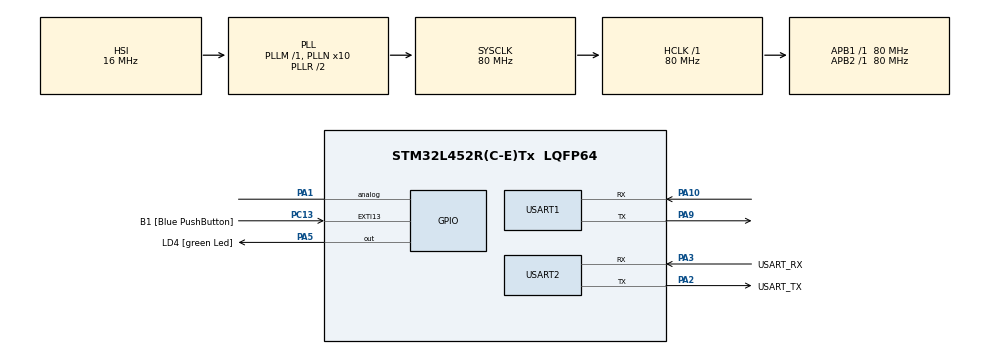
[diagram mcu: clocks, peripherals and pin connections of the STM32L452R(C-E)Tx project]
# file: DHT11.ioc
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Mcu.Family=STM32L4
Mcu.Name=STM32L452R(C-E)Tx
Mcu.Package=LQFP64
NVIC.PriorityGroup=NVIC_PRIORITYGROUP_4
PA1.Signal=GPIO_Analog
PA10.Mode=Asynchronous
PA10.Signal=USART1_RX
PA13\ (JTMS/SWDIO).GPIO_Label=TMS
PA13\ (JTMS/SWDIO).Mode=Serial_Wire
PA13\ (JTMS/SWDIO).Signal=SYS_JTMS-SWDIO
PA14\ (JTCK/SWCLK).GPIO_Label=TCK
PA14\ (JTCK/SWCLK).Mode=Serial_Wire
PA14\ (JTCK/SWCLK).Signal=SYS_JTCK-SWCLK
PA2.GPIO_Label=USART_TX
PA2.GPIO_Mode=GPIO_MODE_AF_PP
PA2.GPIO_PuPd=GPIO_NOPULL
PA2.GPIO_Speed=GPIO_SPEED_FREQ_VERY_HIGH
PA2.Mode=Asynchronous
PA2.Signal=USART2_TX
PA3.GPIO_Label=USART_RX
PA3.GPIO_Mode=GPIO_MODE_AF_PP
PA3.GPIO_PuPd=GPIO_NOPULL
PA3.GPIO_Speed=GPIO_SPEED_FREQ_VERY_HIGH
PA3.Mode=Asynchronous
PA3.Signal=USART2_RX
PA5.GPIO_Label=LD4 [green Led]
PA5.GPIO_ModeDefaultOutputPP=GPIO_MODE_OUTPUT_PP
PA5.GPIO_PuPd=GPIO_NOPULL
PA5.GPIO_Speed=GPIO_SPEED_FREQ_LOW
PA5.Signal=GPIO_Output
PA9.Mode=Asynchronous
PA9.Signal=USART1_TX
PB3\ (JTDO/TRACESWO).GPIO_Label=SWO
PB3\ (JTDO/TRACESWO).Signal=SYS_JTDO-SWO
PC13.GPIO_Label=B1 [Blue PushButton]
PC13.GPIO_ModeDefaultEXTI=GPIO_MODE_IT_FALLING
PC13.GPIO_PuPd=GPIO_NOPULL
PC13.Signal=GPXTI13
PC14-OSC32_IN\ (PC14).Mode=LSE-External-Oscillator
PC14-OSC32_IN\ (PC14).Signal=RCC_OSC32_IN
PC15-OSC32_OUT\ (PC15).Mode=LSE-External-Oscillator
PC15-OSC32_OUT\ (PC15).Signal=RCC_OSC32_OUT
PH0-OSC_IN\ (PH0).Signal=RCC_OSC_IN
PH1-OSC_OUT\ (PH1).Signal=RCC_OSC_OUT
ProjectManager.HeapSize=0x200
ProjectManager.StackSize=0x400
ProjectManager.TargetToolchain=STM32CubeIDE
RCC.ADCFreq_Value=64000000
RCC.AHBFreq_Value=80000000
RCC.APB1Freq_Value=80000000
RCC.APB1TimFreq_Value=80000000
RCC.APB2Freq_Value=80000000
RCC.APB2TimFreq_Value=80000000
RCC.CortexFreq_Value=80000000
RCC.HCLKFreq_Value=80000000
RCC.HSE_VALUE=8000000
RCC.HSI48_VALUE=48000000
RCC.HSI_VALUE=16000000
RCC.MSI_VALUE=4000000
RCC.PLLN=10
RCC.PLLSourceVirtual=RCC_PLLSOURCE_HSI
RCC.PREFETCH_ENABLE=1
RCC.SYSCLKFreq_VALUE=80000000
RCC.SYSCLKSource=RCC_SYSCLKSOURCE_PLLCLK
RCC.USBFreq_Value=64000000
RCC.VCOOutputFreq_Value=160000000
USART1.VirtualMode-Asynchronous=VM_ASYNC
USART2.VirtualMode-Asynchronous=VM_ASYNC
board=NUCLEO-L452RE

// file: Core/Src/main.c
/* USER CODE BEGIN Header */
/**
  ******************************************************************************
  * @file           : main.c
  * @brief          : Main program body
  ******************************************************************************
  * @attention
  *
  * <h2><center>&copy; Copyright (c) 2022 STMicroelectronics.
  * All rights reserved.</center></h2>
  *
  * This software component is licensed by ST under BSD 3-Clause license,
  * the "License"; You may not use this file except in compliance with the
  * License. You may obtain a copy of the License at:
  *                        opensource.org/licenses/BSD-3-Clause
  *
  ******************************************************************************
  */
/* USER CODE END Header */
#include "main.h"

/* USER CODE BEGIN Includes */
#include"DHT.h"
#include "stdio.h"
/* USER CODE END Includes */

/* USER CODE BEGIN PTD */
DHT_DataTypedef DHT11_Data;
uint8_t Temperature, Humidity;

/* USER CODE END PTD */

UART_HandleTypeDef huart1;
UART_HandleTypeDef huart2;

void SystemClock_Config(void);
static void MX_GPIO_Init(void);
static void MX_USART2_UART_Init(void);
static void MX_USART1_UART_Init(void);

int main(void)
{
  /* USER CODE BEGIN 1 */
	char buff[2] = {0};
  /* USER CODE END 1 */

  /* MCU Configuration--------------------------------------------------------*/

  /* Reset of all peripherals, Initializes the Flash interface and the Systick. */
  HAL_Init();

  /* Configure the system clock */
  SystemClock_Config();

  /* Initialize all configured peripherals */
  MX_GPIO_Init();
  MX_USART2_UART_Init();
  MX_USART1_UART_Init();

  /* Infinite loop */
  /* USER CODE BEGIN WHILE */
  while (1)
  {
	DHT_GetData(&DHT11_Data);
	Temperature = DHT11_Data.Temperature;
	sprintf(buff, "%d\t", Temperature);
	HAL_UART_Transmit(&huart2, (uint8_t*)buff, strlen(buff), HAL_MAX_DELAY);
	HAL_UART_Transmit(&huart1, (uint8_t*)buff, strlen(buff), HAL_MAX_DELAY);

	Humidity = DHT11_Data.Humidity;
	sprintf(buff, "%d\n", Humidity);
	HAL_UART_Transmit(&huart2, (uint8_t*)buff, strlen(buff), HAL_MAX_DELAY);
	HAL_UART_Transmit(&huart1, (uint8_t*)buff, strlen(buff), HAL_MAX_DELAY);

	HAL_GPIO_TogglePin(GPIOA, GPIO_PIN_5);
	HAL_Delay(10000);
    /* USER CODE END WHILE */

  }
}

void SystemClock_Config(void)
{
  RCC_OscInitTypeDef RCC_OscInitStruct = {0};
  RCC_ClkInitTypeDef RCC_ClkInitStruct = {0};
  RCC_PeriphCLKInitTypeDef PeriphClkInit = {0};

  /** Initializes the RCC Oscillators according to the specified parameters
  * in the RCC_OscInitTypeDef structure.
  */
  RCC_OscInitStruct.OscillatorType = RCC_OSCILLATORTYPE_HSI;
  RCC_OscInitStruct.HSIState = RCC_HSI_ON;
  RCC_OscInitStruct.HSICalibrationValue = RCC_HSICALIBRATION_DEFAULT;
  RCC_OscInitStruct.PLL.PLLState = RCC_PLL_ON;
  RCC_OscInitStruct.PLL.PLLSource = RCC_PLLSOURCE_HSI;
  RCC_OscInitStruct.PLL.PLLM = 1;
  RCC_OscInitStruct.PLL.PLLN = 10;
  RCC_OscInitStruct.PLL.PLLP = RCC_PLLP_DIV7;
  RCC_OscInitStruct.PLL.PLLQ = RCC_PLLQ_DIV2;
  RCC_OscInitStruct.PLL.PLLR = RCC_PLLR_DIV2;
  if (HAL_RCC_OscConfig(&RCC_OscInitStruct) != HAL_OK)
  {
    Error_Handler();
  }
  /** Initializes the CPU, AHB and APB buses clocks
  */
  RCC_ClkInitStruct.ClockType = RCC_CLOCKTYPE_HCLK|RCC_CLOCKTYPE_SYSCLK
                              |RCC_CLOCKTYPE_PCLK1|RCC_CLOCKTYPE_PCLK2;
  RCC_ClkInitStruct.SYSCLKSource = RCC_SYSCLKSOURCE_PLLCLK;
  RCC_ClkInitStruct.AHBCLKDivider = RCC_SYSCLK_DIV1;
  RCC_ClkInitStruct.APB1CLKDivider = RCC_HCLK_DIV1;
  RCC_ClkInitStruct.APB2CLKDivider = RCC_HCLK_DIV1;

  if (HAL_RCC_ClockConfig(&RCC_ClkInitStruct, FLASH_LATENCY_4) != HAL_OK)
  {
    Error_Handler();
  }
  PeriphClkInit.PeriphClockSelection = RCC_PERIPHCLK_USART1|RCC_PERIPHCLK_USART2;
  PeriphClkInit.Usart1ClockSelection = RCC_USART1CLKSOURCE_PCLK2;
  PeriphClkInit.Usart2ClockSelection = RCC_USART2CLKSOURCE_PCLK1;
  if (HAL_RCCEx_PeriphCLKConfig(&PeriphClkInit) != HAL_OK)
  {
    Error_Handler();
  }
  /** Configure the main internal regulator output voltage
  */
  if (HAL_PWREx_ControlVoltageScaling(PWR_REGULATOR_VOLTAGE_SCALE1) != HAL_OK)
  {
    Error_Handler();
  }
}

static void MX_USART1_UART_Init(void)
{

  huart1.Instance = USART1;
  huart1.Init.BaudRate = 115200;
  huart1.Init.WordLength = UART_WORDLENGTH_8B;
  huart1.Init.StopBits = UART_STOPBITS_1;
  huart1.Init.Parity = UART_PARITY_NONE;
  huart1.Init.Mode = UART_MODE_TX_RX;
  huart1.Init.HwFlowCtl = UART_HWCONTROL_NONE;
  huart1.Init.OverSampling = UART_OVERSAMPLING_16;
  huart1.Init.OneBitSampling = UART_ONE_BIT_SAMPLE_DISABLE;
  huart1.AdvancedInit.AdvFeatureInit = UART_ADVFEATURE_NO_INIT;
  if (HAL_UART_Init(&huart1) != HAL_OK)
  {
    Error_Handler();
  }

}

static void MX_USART2_UART_Init(void)
{

  huart2.Instance = USART2;
  huart2.Init.BaudRate = 115200;
  huart2.Init.WordLength = UART_WORDLENGTH_8B;
  huart2.Init.StopBits = UART_STOPBITS_1;
  huart2.Init.Parity = UART_PARITY_NONE;
  huart2.Init.Mode = UART_MODE_TX_RX;
  huart2.Init.HwFlowCtl = UART_HWCONTROL_NONE;
  huart2.Init.OverSampling = UART_OVERSAMPLING_16;
  huart2.Init.OneBitSampling = UART_ONE_BIT_SAMPLE_DISABLE;
  huart2.AdvancedInit.AdvFeatureInit = UART_ADVFEATURE_NO_INIT;
  if (HAL_UART_Init(&huart2) != HAL_OK)
  {
    Error_Handler();
  }

}

static void MX_GPIO_Init(void)
{
  GPIO_InitTypeDef GPIO_InitStruct = {0};

  /* GPIO Ports Clock Enable */
  __HAL_RCC_GPIOC_CLK_ENABLE();
  __HAL_RCC_GPIOH_CLK_ENABLE();
  __HAL_RCC_GPIOA_CLK_ENABLE();
  __HAL_RCC_GPIOB_CLK_ENABLE();

  /*Configure GPIO pin Output Level */
  HAL_GPIO_WritePin(LD4_GPIO_Port, LD4_Pin, GPIO_PIN_RESET);

  /*Configure GPIO pin : B1_Pin */
  GPIO_InitStruct.Pin = B1_Pin;
  GPIO_InitStruct.Mode = GPIO_MODE_IT_FALLING;
  GPIO_InitStruct.Pull = GPIO_NOPULL;
  HAL_GPIO_Init(B1_GPIO_Port, &GPIO_InitStruct);

  /*Configure GPIO pin : PA1 */
  GPIO_InitStruct.Pin = GPIO_PIN_1;
  GPIO_InitStruct.Mode = GPIO_MODE_ANALOG;
  GPIO_InitStruct.Pull = GPIO_NOPULL;
  HAL_GPIO_Init(GPIOA, &GPIO_InitStruct);

  /*Configure GPIO pin : LD4_Pin */
  GPIO_InitStruct.Pin = LD4_Pin;
  GPIO_InitStruct.Mode = GPIO_MODE_OUTPUT_PP;
  GPIO_InitStruct.Pull = GPIO_NOPULL;
  GPIO_InitStruct.Speed = GPIO_SPEED_FREQ_LOW;
  HAL_GPIO_Init(LD4_GPIO_Port, &GPIO_InitStruct);

}

void Error_Handler(void)
{
  __disable_irq();
  while (1)
  {
  }
}

/************************ (C) COPYRIGHT STMicroelectronics *****END OF FILE****/
